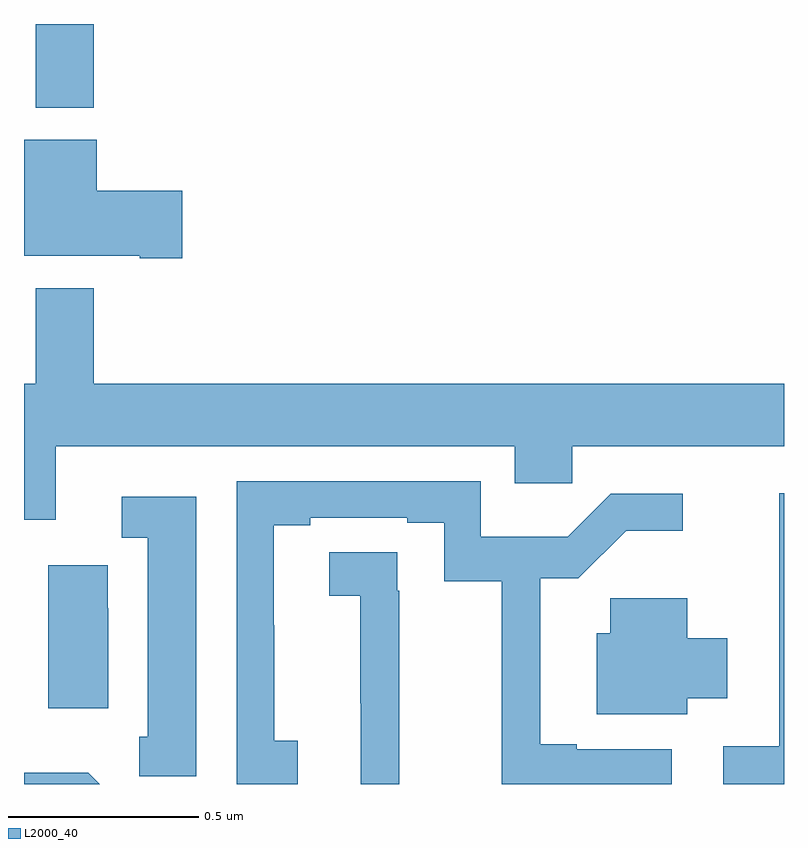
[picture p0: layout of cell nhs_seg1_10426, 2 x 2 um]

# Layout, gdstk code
import gdstk
lib = gdstk.Library(unit=1e-6, precision=1e-09)
def R(c, l, rs):  # rectangles x0, y0, x1, y1
    for r in rs: c.add(gdstk.rectangle(r[:2], r[2:], *l))
def P(c, l, *ps):  # polygons
    for p in ps: c.add(gdstk.Polygon(p, *l))
L2000_40 = (2000, 40)

nhs_seg1_10426 = lib.new_cell('nhs_seg1_10426')
R(nhs_seg1_10426, L2000_40, [(241.031,529.979,241.184,530.199)])
P(nhs_seg1_10426, L2000_40, [(241.417,529.76),(241.192,529.76),(241.192,529.894),(241,529.894),(241,529.589),(241.304,529.589),(241.304,529.582),(241.417,529.582)],
  [(241.084,529.088),(242.291,529.088),(242.291,528.99),(242.443,528.99),(242.443,529.088),(243,529.088),(243,529.252),(241.184,529.252),(241.184,529.504),(241.031,529.504),(241.031,529.252),(241,529.252),(241,528.894),(241.084,528.894)],
  [(241.72,528.313),(241.659,528.313),(241.659,528.617),(241.657,528.617),(241.657,528.88),(241.753,528.88),(241.753,528.9),(242.009,528.9),(242.009,528.886),(242.106,528.886),(242.106,528.733),(242.257,528.733),(242.257,528.199),(242.704,528.199),(242.704,528.291),(242.455,528.291),(242.455,528.304),(242.359,528.304),(242.359,528.741),(242.459,528.741),(242.585,528.866),(242.734,528.866),(242.734,528.963),(242.544,528.963),(242.431,528.85),(242.202,528.85),(242.202,528.996),(241.56,528.996),(241.56,528.199),(241.72,528.199)],
  [(243,528.964),(242.987,528.964),(242.987,528.298),(242.84,528.298),(242.84,528.199),(243,528.199)],
  [(241.453,528.955),(241.257,528.955),(241.257,528.847),(241.325,528.847),(241.325,528.324),(241.303,528.324),(241.303,528.219),(241.453,528.219)],
  [(241.988,528.707),(241.982,528.707),(241.982,528.809),(241.803,528.809),(241.803,528.694),(241.885,528.694),(241.885,528.411),(241.886,528.411),(241.886,528.199),(241.988,528.199)],
  [(241.222,528.662),(241.22,528.662),(241.22,528.775),(241.064,528.775),(241.064,528.399),(241.222,528.399)],
  [(242.746,528.425),(242.851,528.425),(242.851,528.583),(242.746,528.583),(242.746,528.688),(242.543,528.688),(242.543,528.596),(242.507,528.596),(242.507,528.383),(242.746,528.383)],
  [(241.169,528.229),(241,528.229),(241,528.199),(241.199,528.199)])

lib.write_gds('nhs_seg1_10426.gds')
